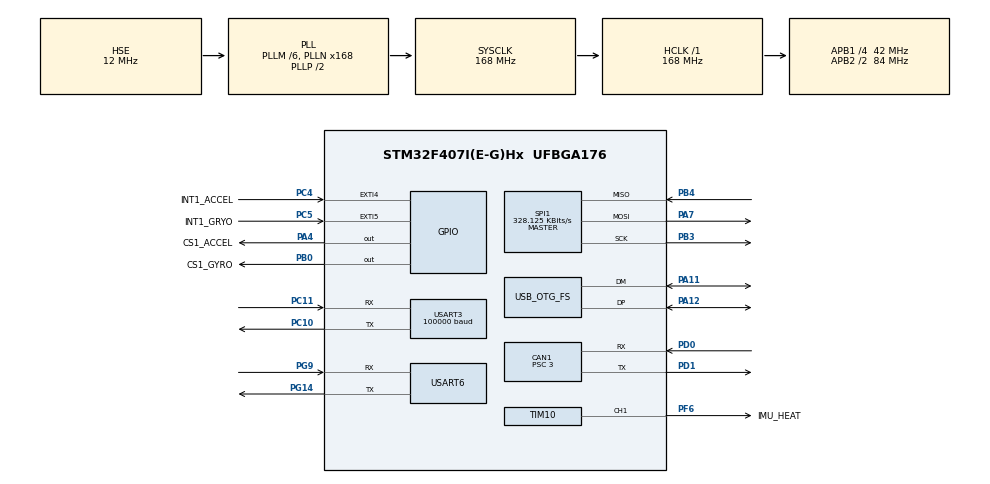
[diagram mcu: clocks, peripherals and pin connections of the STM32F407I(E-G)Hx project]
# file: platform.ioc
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CAN1.ABOM=ENABLE
CAN1.BS1=CAN_BS1_10TQ
CAN1.BS2=CAN_BS2_3TQ
CAN1.CalculateBaudRate=1000000
CAN1.CalculateTimeBit=1000
CAN1.CalculateTimeQuantum=71.42857142857143
CAN1.Prescaler=3
Dma.Request0=USART6_TX
Dma.Request1=USART3_RX
Dma.USART3_RX.1.Direction=DMA_PERIPH_TO_MEMORY
Dma.USART3_RX.1.FIFOMode=DMA_FIFOMODE_DISABLE
Dma.USART3_RX.1.Instance=DMA1_Stream1
Dma.USART3_RX.1.MemDataAlignment=DMA_MDATAALIGN_BYTE
Dma.USART3_RX.1.MemInc=DMA_MINC_ENABLE
Dma.USART3_RX.1.Mode=DMA_NORMAL
Dma.USART3_RX.1.PeriphDataAlignment=DMA_PDATAALIGN_BYTE
Dma.USART3_RX.1.PeriphInc=DMA_PINC_DISABLE
Dma.USART3_RX.1.Priority=DMA_PRIORITY_VERY_HIGH
Dma.USART6_TX.0.Direction=DMA_MEMORY_TO_PERIPH
Dma.USART6_TX.0.FIFOMode=DMA_FIFOMODE_DISABLE
Dma.USART6_TX.0.Instance=DMA2_Stream6
Dma.USART6_TX.0.MemDataAlignment=DMA_MDATAALIGN_BYTE
Dma.USART6_TX.0.MemInc=DMA_MINC_ENABLE
Dma.USART6_TX.0.Mode=DMA_NORMAL
Dma.USART6_TX.0.PeriphDataAlignment=DMA_PDATAALIGN_BYTE
Dma.USART6_TX.0.PeriphInc=DMA_PINC_DISABLE
Dma.USART6_TX.0.Priority=DMA_PRIORITY_LOW
FREERTOS.Tasks01=defaultTask,0,128,StartDefaultTask,Default,NULL,Dynamic,NULL,NULL;can_send_motor,-2,128,Can_Send,As external,NULL,Dynamic,NULL,NULL;Gimbal,-2,128,Gimbal_task,As external,NULL,Dynamic,NULL,NULL;IMU_sloving,-2,128,INS_Calculate,As external,NULL,Dynamic,NULL,NULL
Mcu.Family=STM32F4
Mcu.Name=STM32F407I(E-G)Hx
Mcu.Package=UFBGA176
NVIC.CAN1_RX0_IRQn=true\:6\:0\:true\:false\:true\:true\:true\:true\:true
NVIC.CAN1_RX1_IRQn=true\:5\:0\:true\:false\:true\:true\:true\:true\:true
NVIC.CAN1_TX_IRQn=true\:5\:0\:false\:false\:true\:true\:true\:true\:true
NVIC.DMA1_Stream1_IRQn=true\:5\:0\:false\:false\:true\:true\:false\:true\:true
NVIC.DMA2_Stream6_IRQn=true\:5\:0\:false\:false\:true\:true\:false\:true\:true
NVIC.OTG_FS_IRQn=true\:5\:0\:false\:false\:true\:true\:true\:true\:true
NVIC.PriorityGroup=NVIC_PRIORITYGROUP_4
NVIC.TIM2_IRQn=true\:5\:0\:false\:false\:true\:true\:true\:true\:true
NVIC.USART3_IRQn=true\:5\:0\:false\:false\:false\:true\:true\:true\:true
NVIC.USART6_IRQn=true\:5\:0\:false\:false\:true\:true\:true\:true\:true
PA11.Mode=Device_Only
PA11.Signal=USB_OTG_FS_DM
PA12.Mode=Device_Only
PA12.Signal=USB_OTG_FS_DP
PA13.Mode=Serial_Wire
PA13.Signal=SYS_JTMS-SWDIO
PA14.Mode=Serial_Wire
PA14.Signal=SYS_JTCK-SWCLK
PA4.GPIO_Label=CS1_ACCEL
PA4.Signal=GPIO_Output
PA7.Mode=Full_Duplex_Master
PA7.Signal=SPI1_MOSI
PB0.GPIO_Label=CS1_GYRO
PB0.Signal=GPIO_Output
PB3.Mode=Full_Duplex_Master
PB3.Signal=SPI1_SCK
PB4.Mode=Full_Duplex_Master
PB4.Signal=SPI1_MISO
PC10.Mode=Asynchronous
PC10.Signal=USART3_TX
PC11.Mode=Asynchronous
PC11.Signal=USART3_RX
PC4.GPIO_Label=INT1_ACCEL
PC4.Signal=GPXTI4
PC5.GPIO_Label=INT1_GRYO
PC5.Signal=GPXTI5
PD0.Mode=CAN_Activate
PD0.Signal=CAN1_RX
PD1.Mode=CAN_Activate
PD1.Signal=CAN1_TX
PF6.GPIO_Label=IMU_HEAT
PF6.GPIO_PuPd=GPIO_PULLUP
PF6.GPIO_Speed=GPIO_SPEED_FREQ_HIGH
PF6.Signal=S_TIM10_CH1
PG14.Mode=Asynchronous
PG14.Signal=USART6_TX
PG9.Mode=Asynchronous
PG9.Signal=USART6_RX
PH0-OSC_IN.Mode=HSE-External-Oscillator
PH0-OSC_IN.Signal=RCC_OSC_IN
PH1-OSC_OUT.Mode=HSE-External-Oscillator
PH1-OSC_OUT.Signal=RCC_OSC_OUT
ProjectManager.HeapSize=0x2000
ProjectManager.StackSize=0x4000
ProjectManager.TargetToolchain=MDK-ARM V5.32
RCC.48MHZClocksFreq_Value=48000000
RCC.AHBFreq_Value=168000000
RCC.APB1CLKDivider=RCC_HCLK_DIV4
RCC.APB1Freq_Value=42000000
RCC.APB1TimFreq_Value=84000000
RCC.APB2CLKDivider=RCC_HCLK_DIV2
RCC.APB2Freq_Value=84000000
RCC.APB2TimFreq_Value=168000000
RCC.CortexFreq_Value=168000000
RCC.HCLKFreq_Value=168000000
RCC.HSE_VALUE=12000000
RCC.HSI_VALUE=16000000
RCC.LSE_VALUE=32768
RCC.PLLM=6
RCC.PLLN=168
RCC.PLLQ=7
RCC.SYSCLKFreq_VALUE=168000000
RCC.SYSCLKSource=RCC_SYSCLKSOURCE_PLLCLK
RCC.VCOOutputFreq_Value=336000000
SH.S_TIM10_CH1.0=TIM10_CH1,PWM Generation1 CH1
SPI1.BaudRatePrescaler=SPI_BAUDRATEPRESCALER_256
SPI1.CLKPhase=SPI_PHASE_2EDGE
SPI1.CLKPolarity=SPI_POLARITY_HIGH
SPI1.CalculateBaudRate=328.125 KBits/s
SPI1.Direction=SPI_DIRECTION_2LINES
SPI1.Mode=SPI_MODE_MASTER
SPI1.VirtualType=VM_MASTER
TIM10.Channel=TIM_CHANNEL_1
TIM10.Period=2000-1
TIM10.Prescaler=84-1
TIM2.Period=4399
USART3.BaudRate=100000
USART3.Mode=MODE_RX
USART3.Parity=PARITY_EVEN
USART3.VirtualMode=VM_ASYNC
USART6.VirtualMode=VM_ASYNC
USB_DEVICE.CLASS_NAME_FS=CDC
USB_DEVICE.VirtualMode-CDC_FS=Cdc
USB_DEVICE.VirtualModeFS=Cdc_FS
USB_OTG_FS.VirtualMode=Device_Only
VP_FREERTOS_VS_CMSIS_V1.Mode=CMSIS_V1
VP_TIM10_VS_ClockSourceINT.Mode=Enable_Timer
VP_TIM2_VS_ClockSourceINT.Mode=Internal
VP_USB_DEVICE_VS_USB_DEVICE_CDC_FS.Mode=CDC_FS
board=custom

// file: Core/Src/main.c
/* USER CODE BEGIN Header */
/**
  ******************************************************************************
  * @file           : main.c
  * @brief          : Main program body
  ******************************************************************************
  * @attention
  *
  * Copyright (c) 2025 STMicroelectronics.
  * All rights reserved.
  *
  * This software is licensed under terms that can be found in the LICENSE file
  * in the root directory of this software component.
  * If no LICENSE file comes with this software, it is provided AS-IS.
  *
  ******************************************************************************
  */
/* USER CODE END Header */
#include "main.h"
#include "cmsis_os.h"
#include "can.h"
#include "dma.h"
#include "spi.h"
#include "tim.h"
#include "usart.h"
#include "usb_device.h"
#include "gpio.h"

/* USER CODE BEGIN Includes */
#include "BMI088driver.h"
#include "imu.h"
#include "vofa.h"
#include "motor.h"
#include "config.h"
#include "pid.h"
#include "CAN_receive.h"
#include "bsp_can.h"
#include "remote_control.h"
#include "usbd_cdc_if.h"
#include "FreeRTOS.h"
#include "bsp_dwt.h"
/* USER CODE END Includes */

/* USER CODE BEGIN PD */
uint8_t a;

/* USER CODE END PD */

void SystemClock_Config(void);
void MX_FREERTOS_Init(void);

/* USER CODE BEGIN 0 */

//定时器2中断回调函数，获取欧拉角（TIM2 callback，get Euler angles）

// void HAL_TIM_PeriodElapsedCallback(TIM_HandleTypeDef *htim){
//	 int16_t a;
//// 	if (htim==&htim2){
//// 		IMU_getEuleranAngles();
//// 		__HAL_TIM_CLEAR_IT(&htim2, TIM_IT_UPDATE);
//// 	}
// }

/* USER CODE END 0 */

int main(void)
{

  /* MCU Configuration--------------------------------------------------------*/

  /* Reset of all peripherals, Initializes the Flash interface and the Systick. */
 HAL_Init();

  /* Configure the system clock */
  SystemClock_Config();

  /* Initialize all configured peripherals */
  MX_GPIO_Init();
  MX_DMA_Init();
  MX_SPI1_Init();
  MX_TIM2_Init();
  MX_TIM10_Init();
  MX_USART6_UART_Init();
  MX_CAN1_Init();
  MX_USART3_UART_Init();
  /* USER CODE BEGIN 2 */
  DWT_Init(168);

  //BMI088初始化
while(BMI088_init())
  {
      ;
  }
  remote_control_init();
  gimbal_PID_init();
  can_filter_init();
	HAL_TIM_Base_Start_IT(&htim2);
  local_rc_ctrl = get_remote_control_point();

  /* USER CODE END 2 */

  /* Call init function for freertos objects (in cmsis_os2.c) */
  MX_FREERTOS_Init();

  /* Start scheduler */
  osKernelStart();

  /* We should never get here as control is now taken by the scheduler */

  /* Infinite loop */
  while (1)
  {

  }
}

void SystemClock_Config(void)
{
  RCC_OscInitTypeDef RCC_OscInitStruct = {0};
  RCC_ClkInitTypeDef RCC_ClkInitStruct = {0};

  /** Configure the main internal regulator output voltage
  */
  __HAL_RCC_PWR_CLK_ENABLE();
  __HAL_PWR_VOLTAGESCALING_CONFIG(PWR_REGULATOR_VOLTAGE_SCALE1);

  /** Initializes the RCC Oscillators according to the specified parameters
  * in the RCC_OscInitTypeDef structure.
  */
  RCC_OscInitStruct.OscillatorType = RCC_OSCILLATORTYPE_HSE;
  RCC_OscInitStruct.HSEState = RCC_HSE_ON;
  RCC_OscInitStruct.PLL.PLLState = RCC_PLL_ON;
  RCC_OscInitStruct.PLL.PLLSource = RCC_PLLSOURCE_HSE;
  RCC_OscInitStruct.PLL.PLLM = 6;
  RCC_OscInitStruct.PLL.PLLN = 168;
  RCC_OscInitStruct.PLL.PLLP = RCC_PLLP_DIV2;
  RCC_OscInitStruct.PLL.PLLQ = 7;
  if (HAL_RCC_OscConfig(&RCC_OscInitStruct) != HAL_OK)
  {
    Error_Handler();
  }

  /** Initializes the CPU, AHB and APB buses clocks
  */
  RCC_ClkInitStruct.ClockType = RCC_CLOCKTYPE_HCLK|RCC_CLOCKTYPE_SYSCLK
                              |RCC_CLOCKTYPE_PCLK1|RCC_CLOCKTYPE_PCLK2;
  RCC_ClkInitStruct.SYSCLKSource = RCC_SYSCLKSOURCE_PLLCLK;
  RCC_ClkInitStruct.AHBCLKDivider = RCC_SYSCLK_DIV1;
  RCC_ClkInitStruct.APB1CLKDivider = RCC_HCLK_DIV4;
  RCC_ClkInitStruct.APB2CLKDivider = RCC_HCLK_DIV2;

  if (HAL_RCC_ClockConfig(&RCC_ClkInitStruct, FLASH_LATENCY_5) != HAL_OK)
  {
    Error_Handler();
  }
}

void Error_Handler(void)
{
  __disable_irq();
  while (1)
  {
  }
}

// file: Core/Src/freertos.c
/* USER CODE BEGIN Header */
/**
  ******************************************************************************
  * File Name          : freertos.c
  * Description        : Code for freertos applications
  ******************************************************************************
  * @attention
  *
  * Copyright (c) 2025 STMicroelectronics.
  * All rights reserved.
  *
  * This software is licensed under terms that can be found in the LICENSE file
  * in the root directory of this software component.
  * If no LICENSE file comes with this software, it is provided AS-IS.
  *
  ******************************************************************************
  */
/* USER CODE END Header */

#include "FreeRTOS.h"
#include "task.h"
#include "main.h"
#include "cmsis_os.h"

/* USER CODE BEGIN Includes */
#include "CAN_receive.h"
#include "motor.h"
#include "Gimbal.h"
#include "remote_control.h"
#include "Serial.h"
#include "VPC.h"
#include "cmsis_os.h"  // ??CMSIS-RTOS????
#include "INS.h"
#include "semphr.h"

/* USER CODE END Includes */

/* USER CODE BEGIN Variables */
osThreadId VPCHandle;
/* global VPC semaphore (single definition) */
SemaphoreHandle_t g_xSemVPC = NULL;
/* USER CODE END Variables */
osThreadId defaultTaskHandle;
osThreadId can_send_motorHandle;
osThreadId GimbalHandle;
osThreadId IMU_slovingHandle;

void StartDefaultTask(void const * argument);
extern void Can_Send(void const * argument);
extern void Gimbal_task(void);
extern void INS_Calculate(void);
extern void VPC_Task(void * argument);

extern void MX_USB_DEVICE_Init(void);
void MX_FREERTOS_Init(void); /* (MISRA C 2004 rule 8.1) */

/* GetIdleTaskMemory prototype (linked to static allocation support) */
void vApplicationGetIdleTaskMemory( StaticTask_t **ppxIdleTaskTCBBuffer, StackType_t **ppxIdleTaskStackBuffer, uint32_t *pulIdleTaskStackSize );

/* USER CODE BEGIN GET_IDLE_TASK_MEMORY */
static StaticTask_t xIdleTaskTCBBuffer;
static StackType_t xIdleStack[configMINIMAL_STACK_SIZE];

void vApplicationGetIdleTaskMemory( StaticTask_t **ppxIdleTaskTCBBuffer, StackType_t **ppxIdleTaskStackBuffer, uint32_t *pulIdleTaskStackSize )
{
  *ppxIdleTaskTCBBuffer = &xIdleTaskTCBBuffer;
  *ppxIdleTaskStackBuffer = &xIdleStack[0];
  *pulIdleTaskStackSize = configMINIMAL_STACK_SIZE;
  /* place for user code */
}
/* USER CODE END GET_IDLE_TASK_MEMORY */

void MX_FREERTOS_Init(void) {

  /* USER CODE BEGIN RTOS_SEMAPHORES */
  /* add semaphores, ... */
  /* Create VPC semaphore early so tasks can safely take/give it. */
  g_xSemVPC = xSemaphoreCreateBinary();
  if (g_xSemVPC == NULL) {
    /* Allocation failed - optionally handle (blink LED / log). */
  }
  /* USER CODE END RTOS_SEMAPHORES */

  /* Create the thread(s) */
  /* definition and creation of defaultTask */
  osThreadDef(defaultTask, StartDefaultTask, osPriorityNormal, 0, 128);
  defaultTaskHandle = osThreadCreate(osThread(defaultTask), NULL);

  /* definition and creation of can_send_motor */
  osThreadDef(can_send_motor, Can_Send, osPriorityLow, 0, 128);
  can_send_motorHandle = osThreadCreate(osThread(can_send_motor), NULL);

  /* definition and creation of Gimbal */
  osThreadDef(Gimbal, Gimbal_task, osPriorityLow, 0, 128);
  GimbalHandle = osThreadCreate(osThread(Gimbal), NULL);

  /* definition and creation of IMU_sloving */
  osThreadDef(IMU_sloving, INS_Calculate, osPriorityLow, 0, 128);
  IMU_slovingHandle = osThreadCreate(osThread(IMU_sloving), NULL);

  /* definition and creation of VPC_sloving */
  osThreadDef(VPC_sloving, VPC_Task, osPriorityLow, 0, 128);
  VPCHandle = osThreadCreate(osThread(VPC_sloving), NULL);

}

void StartDefaultTask(void const * argument)
{
  /* init code for USB_DEVICE */
  MX_USB_DEVICE_Init();
  for(;;)
  {
    osDelay(1);
  }
}
